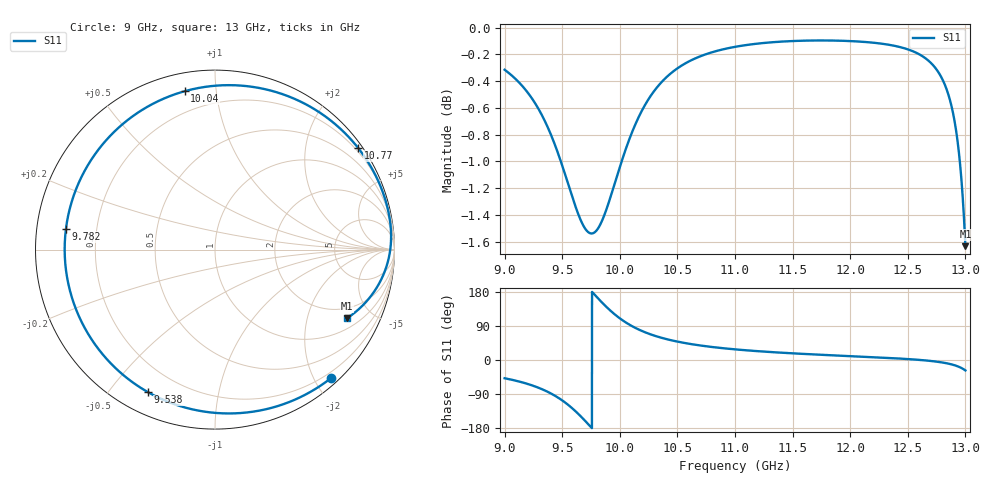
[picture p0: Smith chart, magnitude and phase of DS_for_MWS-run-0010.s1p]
! TOUCHSTONE file generated by CST DESIGN STUDIO
! Date and time: Tue Feb  4 18:04:07 2025
! Project name: C:\Work\MatlabApps\UnitCellOptimizationMatlab\CST\unitcell.cst
! Tree item: Tasks\Sweep1\SPara1\S-Parameters
! Header version: 2024
! Port assignment regex: !\s*Touchstone port\s*([0-9]+)\s*=\s*(CST MWS port|CST DES external port|CST DES block port)\s*(.+)\s* \(\"(.*)\"\)(\s*mode\s*([0-9]+))?.*
! Touchstone port assignment:
! Touchstone port 1 = CST DES external port 1 ("")
# GHz S MA R 50
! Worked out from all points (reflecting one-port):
!   4001 points, 9 GHz to 13 GHz, reference 50 ohm
!   lowest |S11| = -1.6 dB at 13 GHz (marker M1), VSWR 10.66, Z = 72.2 - j176 ohm
!   phase of S11 starts at -48 deg and turns -339 deg over the sweep
!   S11 on the Smith chart (normalised r, x): 9 GHz: 0.11, -2.24; 9.538 GHz: 0.09, -0.63; 9.782 GHz: 0.09, +0.07; 10.04 GHz: 0.09, +0.82; 10.77 GHz: 0.12, +3.13; 13 GHz: 1.44, -3.53
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9  0.9643 -48.1
9.141  0.9523 -58.0
9.27  0.9361 -70.4
9.401  0.9121 -88.1
9.5  0.888 -106.6
9.538  0.8778 -115.1
9.607  0.8593 -132.8
9.678  0.8441 -153.9
9.731  0.8382 -171.0
9.782  0.8385 172.1
9.835  0.8449 155.0
9.896  0.8582 136.6
9.947  0.8719 122.7
10  0.8868 110.0
10.043  0.8984 100.9
10.134  0.9198 84.9
10.252  0.9406 69.3
10.368  0.9547 58.1
10.5  0.9655 48.6
10.77  0.978 35.4
11  0.9835 28.1
11.5  0.9884 17.6
12  0.9884 10.2
12.5  0.9814 2.5
12.704  0.9697 -2.7
12.848  0.9452 -9.3
12.931  0.9076 -16.4
13  0.8285 -27.5
